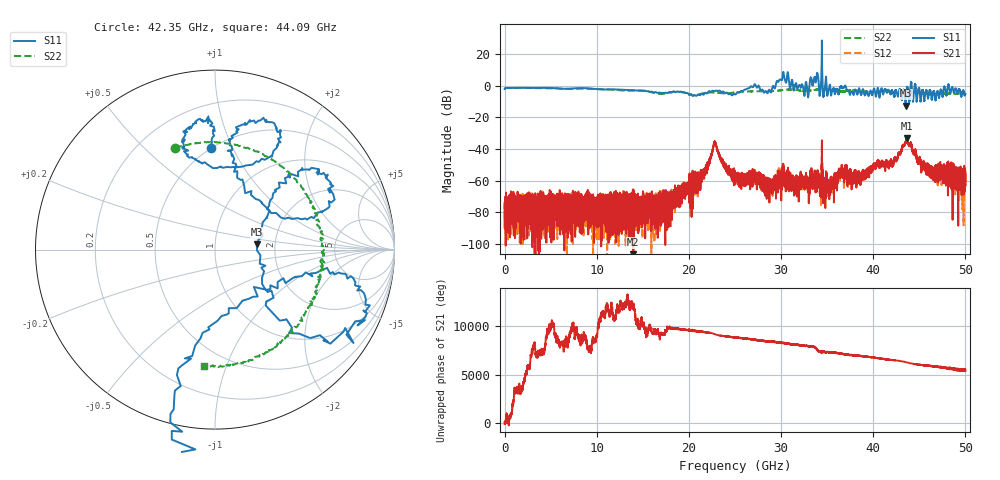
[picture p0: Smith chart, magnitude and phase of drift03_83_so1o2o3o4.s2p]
!Created with skrf (http://scikit-rf.org).
# Hz S RI R 50.0
!freq ReS11 ImS11 ReS21 ImS21 ReS12 ImS12 ReS22 ImS22
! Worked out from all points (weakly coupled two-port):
!   10000 points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, 5.3 MHz to 50 GHz, reference 50 ohm
!   highest |S21| = -33.11 dB at 43.64 GHz (marker M1); lowest = -110.1 dB at 13.98 GHz (marker M2)
!   lowest |S11| = -12.6 dB at 43.52 GHz (marker M3), VSWR 1.61, Z = 80.1 + j4.99 ohm
!   |S11| at or under -10 dB: 43.48339 GHz to 43.55271 GHz (69.32 MHz wide, 0.159 % of centre); 43.89877 GHz to 43.90161 GHz (2.835 MHz wide, 0.00646 % of centre); 44.31343 GHz to 44.31796 GHz (4.538 MHz wide, 0.0102 % of centre) (the widest 3 of 6)
!   |S22| runs from -5.9 to -1.3 dB; largest |S21 - S12| = 0.012
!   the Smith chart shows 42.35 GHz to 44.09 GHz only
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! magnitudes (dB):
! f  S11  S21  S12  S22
! 5.3 MHz  -2.1  -74.3  -84.1  -2.1
! 8.34 GHz  -1.5  -93.7  -76.0  -1.9
! 13.98 GHz  -2.8  -110.1  -78.0  -3.1
! 16.67 GHz  -4.4  -72.3  -74.4  -5.2
! 21.11 GHz  -5.9  -56.0  -59.5  -5.5
! 22.01 GHz  -4.8  -50.4  -51.2  -4.3
! 22.81 GHz  -3.4  -35.1  -35.4  -4.4
! 25.01 GHz  -5.5  -57.7  -56.9  -4.3
! 27.02 GHz  -0.4  -60.0  -59.4  -3.5
! 28.86 GHz  -3.9  -63.9  -63.9  -3.5
! 30.14 GHz  4.4  -52.5  -58.3  -2.7
! 32.74 GHz  2.0  -58.0  -58.6  -3.4
! 33.34 GHz  2.6  -58.5  -61.3  -2.9
! 33.82 GHz  4.0  -59.3  -62.0  -2.6
! 34.94 GHz  -0.5  -57.0  -65.6  -2.3
! 36.44 GHz  -0.7  -58.3  -54.0  -3.7
! 38.42 GHz  -2.1  -57.1  -56.1  -3.0
! 41.67 GHz  -2.9  -50.1  -50.0  -3.6
! 43.52 GHz  -12.6  -35.3  -35.7  -4.2
! 43.64 GHz  -1.8  -33.1  -33.7  -4.0
! 45.94 GHz  -7.9  -51.4  -51.8  -5.4
! 50 GHz  -5.2  -62.3  -61.7  -4.9
